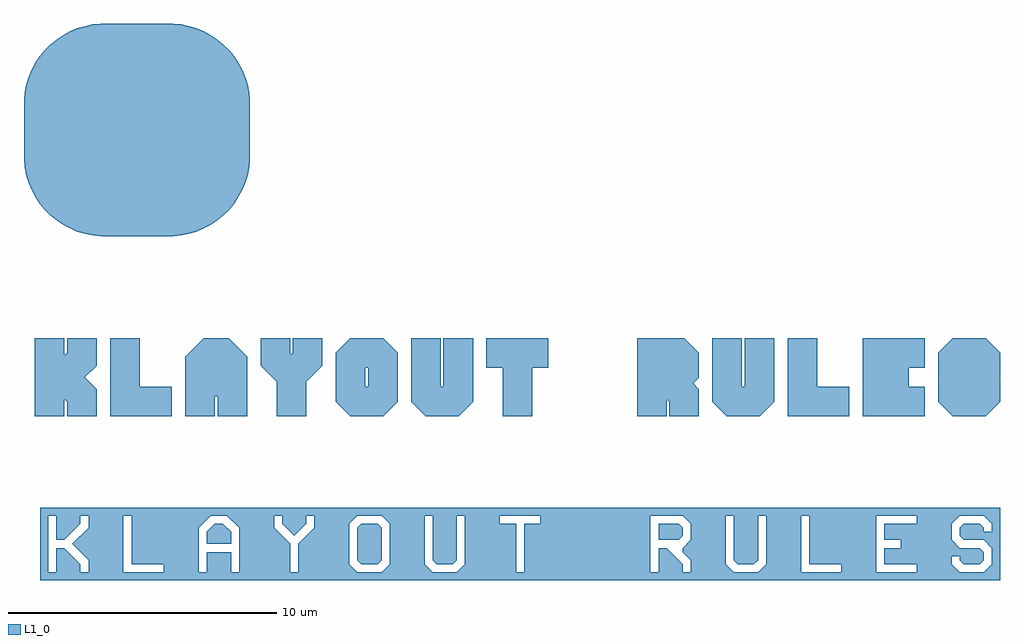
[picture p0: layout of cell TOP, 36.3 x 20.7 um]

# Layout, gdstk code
import gdstk
lib = gdstk.Library(unit=1e-6, precision=1e-09)
def P(c, l, *ps):  # polygons
    for p in ps: c.add(gdstk.Polygon(p, *l))
L1_0 = (1, 0)

round_polygon_1 = lib.new_cell('ROUND_POLYGON$1')
P(round_polygon_1, L1_0, [(-2.847,6.1),(-3.141,6.129),(-3.43,6.186),(-3.712,6.272),(-3.984,6.385),(-4.244,6.524),(-4.489,6.687),(-4.717,6.874),(-4.926,7.083),(-5.113,7.311),(-5.276,7.556),(-5.415,7.816),(-5.528,8.088),(-5.614,8.37),(-5.671,8.659),(-5.7,8.953),(-5.7,11.147),(-5.671,11.441),(-5.614,11.73),(-5.528,12.012),(-5.415,12.284),(-5.276,12.544),(-5.113,12.789),(-4.926,13.017),(-4.717,13.226),(-4.489,13.413),(-4.244,13.576),(-3.984,13.715),(-3.712,13.828),(-3.43,13.914),(-3.141,13.971),(-2.847,14),(-0.153,14),(0.141,13.971),(0.43,13.914),(0.712,13.828),(0.984,13.715),(1.244,13.576),(1.489,13.413),(1.717,13.226),(1.926,13.017),(2.113,12.789),(2.276,12.544),(2.415,12.284),(2.528,12.012),(2.614,11.73),(2.671,11.441),(2.7,11.147),(2.7,8.953),(2.671,8.659),(2.614,8.37),(2.528,8.088),(2.415,7.816),(2.276,7.556),(2.113,7.311),(1.926,7.083),(1.717,6.874),(1.489,6.687),(1.244,6.524),(0.984,6.385),(0.712,6.272),(0.43,6.186),(0.141,6.129),(-0.153,6.1)])

text_1 = lib.new_cell('TEXT$1')
P(text_1, L1_0, [(2.95,0.525),(2.95,0.75),(3.1,0.9),(3.25,0.9),(3.4,0.75),(3.4,0.525)],
  [(5.825,0.15),(5.75,0.225),(5.75,0.825),(5.825,0.9),(6.125,0.9),(6.2,0.825),(6.2,0.225),(6.125,0.15)],
  [(11.35,0.6),(11.35,0.9),(11.725,0.9),(11.8,0.825),(11.8,0.675),(11.725,0.6)],
  [(-0.15,-0.15),(-0.15,1.2),(17.7,1.2),(17.7,1.05),(13.2,1.05),(13.2,0.225),(13.125,0.15),(12.825,0.15),(12.75,0.225),(12.75,1.05),(7.6,1.05),(7.6,0.225),(7.525,0.15),(7.225,0.15),(7.15,0.225),(7.15,1.05),(4.8,1.05),(4.8,0.9),(4.575,0.675),(4.35,0.9),(4.35,1.05),(0.6,1.05),(0.6,0.9),(0.3,0.6),(0.15,0.6),(0.15,1.05),(0,1.05),(0,0),(0.15,0),(0.15,0.45),(0.3,0.45),(0.6,0.15),(0.6,0),(0.75,0),(0.75,0.225),(0.45,0.525),(0.75,0.825),(0.75,1.05),(1.4,1.05),(1.4,0),(2.15,0),(2.15,0.15),(1.55,0.15),(1.55,1.05),(3.025,1.05),(2.8,0.825),(2.8,0),(2.95,0),(2.95,0.375),(3.4,0.375),(3.4,0),(3.55,0),(3.55,0.825),(3.325,1.05),(4.2,1.05),(4.2,0.825),(4.5,0.525),(4.5,0),(4.65,0),(4.65,0.525),(4.95,0.825),(4.95,1.05),(5.75,1.05),(5.6,0.9),(5.6,0.15),(5.75,0),(6.2,0),(6.35,0.15),(6.35,0.9),(6.2,1.05),(7,1.05),(7,0.15),(7.15,0),(7.6,0),(7.75,0.15),(7.75,1.05),(8.4,1.05),(8.4,0.9),(8.7,0.9),(8.7,0),(8.85,0),(8.85,0.9),(9.15,0.9),(9.15,1.05),(11.2,1.05),(11.2,0),(11.35,0),(11.35,0.45),(11.5,0.45),(11.8,0.15),(11.8,0),(11.95,0),(11.95,0.225),(11.8,0.375),(11.8,0.45),(11.95,0.6),(11.95,0.9),(11.8,1.05),(12.6,1.05),(12.6,0.15),(12.75,0),(13.2,0),(13.35,0.15),(13.35,1.05),(14,1.05),(14,0),(14.75,0),(14.75,0.15),(14.15,0.15),(14.15,1.05),(15.4,1.05),(15.4,0),(16.15,0),(16.15,0.15),(15.55,0.15),(15.55,0.45),(15.85,0.45),(15.85,0.6),(15.55,0.6),(15.55,0.9),(16.15,0.9),(16.15,1.05),(16.95,1.05),(16.8,0.9),(16.8,0.6),(16.95,0.45),(17.325,0.45),(17.4,0.375),(17.4,0.225),(17.325,0.15),(17.025,0.15),(16.95,0.225),(16.95,0.3),(16.8,0.3),(16.8,0.15),(16.95,0),(17.4,0),(17.55,0.15),(17.55,0.45),(17.4,0.6),(17.025,0.6),(16.95,0.675),(16.95,0.825),(17.025,0.9),(17.325,0.9),(17.4,0.825),(17.4,0.75),(17.55,0.75),(17.55,0.9),(17.4,1.05),(17.7,1.05),(17.7,-0.15)])

text = lib.new_cell('TEXT')
P(text, L1_0, [(-0.2,-0.2),(-0.2,1.25),(0.35,1.25),(0.35,0.932),(0.4,0.982),(0.4,1.25),(0.95,1.25),(0.95,0.743),(0.732,0.525),(0.95,0.307),(0.95,-0.2),(0.4,-0.2),(0.4,0.068),(0.35,0.118),(0.35,-0.2)],
  [(1.2,-0.2),(1.2,1.25),(1.75,1.25),(1.75,0.35),(2.35,0.35),(2.35,-0.2)],
  [(2.6,-0.2),(2.6,0.907),(2.943,1.25),(3.407,1.25),(3.75,0.907),(3.75,-0.2),(3.2,-0.2),(3.2,0.175),(3.15,0.175),(3.15,-0.2)],
  [(4.3,-0.2),(4.3,0.443),(4,0.743),(4,1.25),(4.55,1.25),(4.55,0.982),(4.575,0.957),(4.6,0.982),(4.6,1.25),(5.15,1.25),(5.15,0.743),(4.85,0.443),(4.85,-0.2)],
  [(5.668,-0.2),(5.4,0.068),(5.4,0.982),(5.668,1.25),(6.282,1.25),(6.55,0.982),(6.55,0.7),(5.95,0.7),(5.95,0.35),(6,0.35),(6,0.7),(6.55,0.7),(6.55,0.068),(6.282,-0.2)],
  [(7.068,-0.2),(6.8,0.068),(6.8,1.25),(7.35,1.25),(7.35,0.35),(7.4,0.35),(7.4,1.25),(7.95,1.25),(7.95,0.068),(7.682,-0.2)],
  [(8.5,-0.2),(8.5,0.7),(8.2,0.7),(8.2,1.25),(9.35,1.25),(9.35,0.7),(9.05,0.7),(9.05,-0.2)],
  [(11,-0.2),(11,1.25),(11.882,1.25),(12.15,0.982),(12.15,0.518),(12.045,0.412),(12.15,0.307),(12.15,-0.2),(11.6,-0.2),(11.6,0.068),(11.55,0.118),(11.55,-0.2)],
  [(12.668,-0.2),(12.4,0.068),(12.4,1.25),(12.95,1.25),(12.95,0.35),(13,0.35),(13,1.25),(13.55,1.25),(13.55,0.068),(13.282,-0.2)],
  [(13.8,-0.2),(13.8,1.25),(14.35,1.25),(14.35,0.35),(14.95,0.35),(14.95,-0.2)],
  [(15.2,-0.2),(15.2,1.25),(16.35,1.25),(16.35,0.7),(16.05,0.7),(16.05,0.35),(16.35,0.35),(16.35,-0.2)],
  [(16.868,-0.2),(16.6,0.068),(16.6,0.5),(16.618,0.5),(16.6,0.518),(16.6,0.982),(16.868,1.25),(17.482,1.25),(17.75,0.982),(17.75,0.55),(17.732,0.55),(17.75,0.532),(17.75,0.068),(17.482,-0.2)])

top = lib.new_cell('TOP')
top.add(gdstk.Reference(round_polygon_1, (0,0)))
top.add(gdstk.Reference(text_1, (-4.8,-6.4), magnification=2))
top.add(gdstk.Reference(text, (-4.9,-0.2), magnification=2))

lib.write_gds('TOP.gds')
